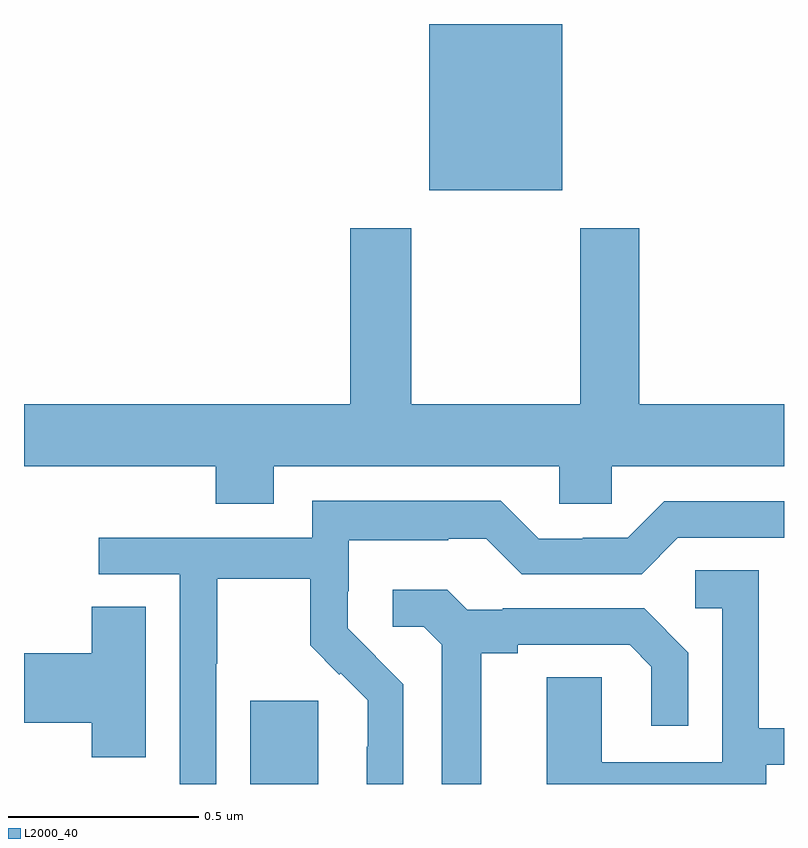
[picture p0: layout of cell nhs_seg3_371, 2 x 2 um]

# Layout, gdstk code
import gdstk
lib = gdstk.Library(unit=1e-6, precision=1e-09)
def R(c, l, rs):  # rectangles x0, y0, x1, y1
    for r in rs: c.add(gdstk.rectangle(r[:2], r[2:], *l))
def P(c, l, *ps):  # polygons
    for p in ps: c.add(gdstk.Polygon(p, *l))
L2000_40 = (2000, 40)

nhs_seg3_371 = lib.new_cell('nhs_seg3_371')
R(nhs_seg3_371, L2000_40, [(115.595,713.4,115.774,713.619), (116.066,714.962,116.416,715.4)])
P(nhs_seg3_371, L2000_40, [(115.657,714.236),(116.409,714.236),(116.409,714.138),(116.547,714.138),(116.547,714.236),(117,714.236),(117,714.4),(116.619,714.4),(116.619,714.862),(116.464,714.862),(116.464,714.4),(116.019,714.4),(116.019,714.862),(115.859,714.862),(115.859,714.4),(115,714.4),(115,714.236),(115.505,714.236),(115.505,714.137),(115.657,714.137)],
  [(115.506,713.716),(115.509,713.716),(115.509,713.94),(115.753,713.94),(115.753,713.765),(115.83,713.688),(115.833,713.691),(115.904,713.621),(115.904,713.498),(115.902,713.498),(115.902,713.4),(115.998,713.4),(115.998,713.662),(115.925,713.735),(115.926,713.736),(115.852,713.81),(115.852,713.907),(115.854,713.907),(115.854,714.041),(116.117,714.041),(116.117,714.045),(116.217,714.045),(116.31,713.952),(116.625,713.952),(116.721,714.048),(117,714.048),(117,714.144),(116.685,714.144),(116.589,714.048),(116.471,714.048),(116.471,714.045),(116.355,714.045),(116.255,714.145),(115.758,714.145),(115.758,714.048),(115.197,714.048),(115.197,713.952),(115.41,713.952),(115.41,713.4),(115.506,713.4)],
  [(116.953,713.451),(117,713.451),(117,713.547),(116.934,713.547),(116.934,713.963),(116.766,713.963),(116.766,713.862),(116.838,713.862),(116.838,713.457),(116.52,713.457),(116.52,713.681),(116.375,713.681),(116.375,713.4),(116.953,713.4)],
  [(116.203,713.744),(116.299,713.744),(116.299,713.766),(116.594,713.766),(116.651,713.709),(116.651,713.553),(116.748,713.553),(116.748,713.746),(116.632,713.862),(116.26,713.862),(116.26,713.859),(116.166,713.859),(116.114,713.911),(115.971,713.911),(115.971,713.814),(116.052,713.814),(116.099,713.767),(116.099,713.4),(116.203,713.4)],
  [(115.321,713.867),(115.178,713.867),(115.178,713.744),(115,713.744),(115,713.561),(115.178,713.561),(115.178,713.47),(115.321,713.47)])

lib.write_gds('nhs_seg3_371.gds')
